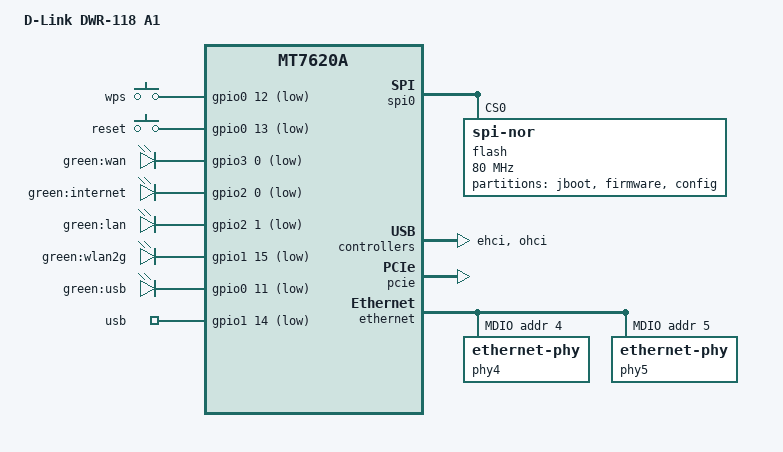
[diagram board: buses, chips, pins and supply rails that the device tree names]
// SPDX-License-Identifier: GPL-2.0-or-later OR MIT

#include "mt7620a.dtsi"

#include <dt-bindings/gpio/gpio.h>
#include <dt-bindings/input/input.h>
#include <dt-bindings/mtd/partitions/uimage.h>

/ {
	compatible = "dlink,dwr-118-a1", "ralink,mt7620a-soc";
	model = "D-Link DWR-118 A1";

	aliases {
		led-boot = &led_internet;
		led-failsafe = &led_internet;
		led-upgrade = &led_internet;
	};

	keys {
		compatible = "gpio-keys";

		wps {
			label = "wps";
			gpios = <&gpio0 12 GPIO_ACTIVE_LOW>;
			linux,code = <KEY_WPS_BUTTON>;
		};

		reset {
			label = "reset";
			gpios = <&gpio0 13 GPIO_ACTIVE_LOW>;
			linux,code = <KEY_RESTART>;
		};
	};

	leds {
		compatible = "gpio-leds";

		wan {
			label = "green:wan";
			gpios = <&gpio3 0 GPIO_ACTIVE_LOW>;
		};

		led_internet: internet {
			label = "green:internet";
			gpios = <&gpio2 0 GPIO_ACTIVE_LOW>;
		};

		lan {
			label = "green:lan";
			gpios = <&gpio2 1 GPIO_ACTIVE_LOW>;
		};

		wlan2g {
			label = "green:wlan2g";
			gpios = <&gpio1 15 GPIO_ACTIVE_LOW>;
		};

		usb {
			label = "green:usb";
			gpios = <&gpio0 11 GPIO_ACTIVE_LOW>;
			trigger-sources = <&ohci_port1>, <&ehci_port1>;
			linux,default-trigger = "usbport";
		};
	};

	gpio_export {
		compatible = "gpio-export";
		#size-cells = <0>;

		usb {
			gpio-export,name = "usb";
			gpio-export,output = <0>;
			gpios = <&gpio1 14 GPIO_ACTIVE_LOW>;
		};
	};
};

&gpio1 {
	status = "okay";
};

&gpio2 {
	status = "okay";
};

&gpio3 {
	status = "okay";
};

&spi0 {
	status = "okay";

	flash@0 {
		compatible = "jedec,spi-nor";
		reg = <0>;
		spi-max-frequency = <80000000>;

		partitions {
			compatible = "fixed-partitions";
			#address-cells = <1>;
			#size-cells = <1>;

			partition@0 {
				label = "jboot";
				reg = <0x0 0x10000>;
				read-only;
			};

			partition@10000 {
				compatible = "openwrt,uimage", "denx,uimage";
				openwrt,ih-magic = <IH_MAGIC_OKLI>;
				openwrt,offset = <0x10000>;
				label = "firmware";
				reg = <0x10000 0xfe0000>;
			};

			config: partition@ff0000 {
				label = "config";
				reg = <0xff0000 0x10000>;
				read-only;
			};
		};
	};
};

&ehci {
	status = "okay";
};

&ohci {
	status = "okay";
};

&state_default {
	default {
		groups = "ephy", "uartf", "spi refclk", "wled";
		function = "gpio";
	};
};

&pcie {
	status = "okay";
};

&pcie0 {
	wifi@0,0 {
		reg = <0x0000 0 0 0 0>;
		nvmem-cells = <&macaddr_config_e496>;
		nvmem-cell-names = "mac-address";
		mac-address-increment = <(2)>;
		mediatek,mtd-eeprom = <&config 0xe083>;

		led {
			led-sources = <0>;
			led-active-low;
		};
	};
};

&ethernet {
	pinctrl-names = "default";
	pinctrl-0 = <&rgmii1_pins &rgmii2_pins &mdio_pins>;

	port@4 {
		status = "okay";
		phy-handle = <&phy4>;
		phy-mode = "rgmii";
	};

	port@5 {
		status = "okay";
		phy-handle = <&phy5>;
		phy-mode = "rgmii";
	};

	mdio-bus {
		status = "okay";

		phy4: ethernet-phy@4 {
			reg = <4>;
			phy-mode = "rgmii-rxid";
		};

		phy5: ethernet-phy@5 {
			reg = <5>;
			phy-mode = "rgmii-rxid";
		};
	};
};

&gsw {
	mediatek,port4-gmac;
	mediatek,ephy-base = /bits/ 8 <8>;
};

&config {
	compatible = "nvmem-cells";
	#address-cells = <1>;
	#size-cells = <1>;

	macaddr_config_e496: macaddr@e496 {
		reg = <0xe496 0x6>;
	};
};
